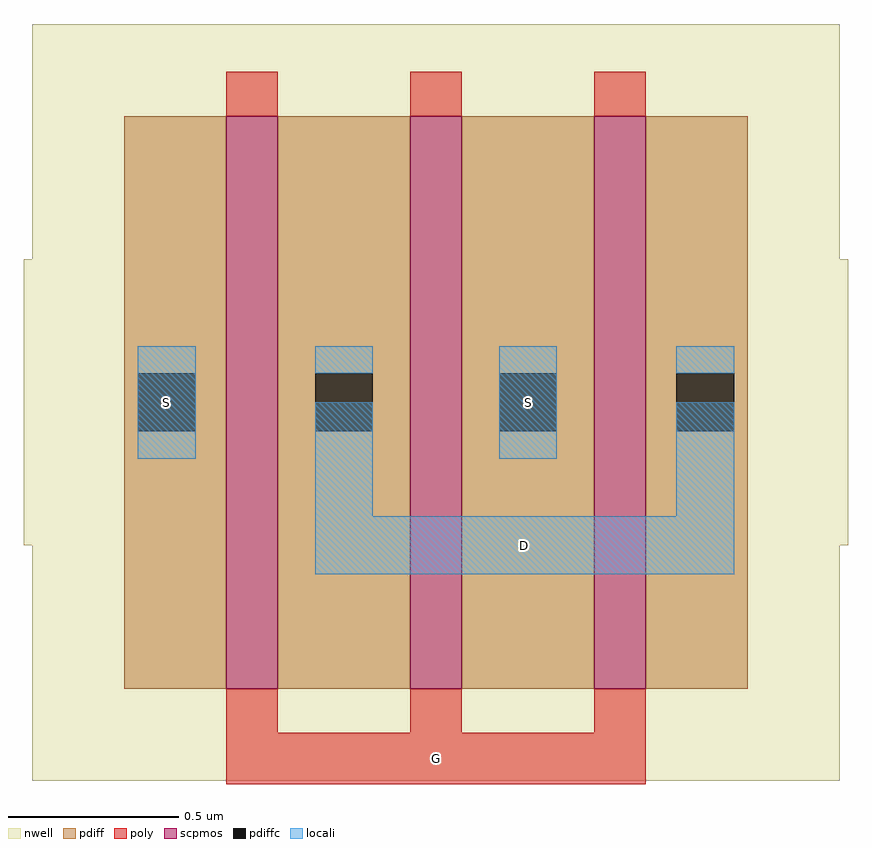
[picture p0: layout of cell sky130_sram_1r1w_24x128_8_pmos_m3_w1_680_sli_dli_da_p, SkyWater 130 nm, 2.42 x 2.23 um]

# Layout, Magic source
magic
tech sky130B
magscale 1 2
<< nwell >>
rect -54 -54 420 390
<< scpmos >>
rect 60 0 90 336
rect 168 0 198 336
rect 276 0 306 336
<< pdiff >>
rect 0 0 60 336
rect 90 0 168 336
rect 198 0 276 336
rect 306 0 366 336
<< poly >>
rect 60 336 90 362
rect 168 336 198 362
rect 276 336 306 362
rect 60 -26 90 0
rect 168 -26 198 0
rect 276 -26 306 0
rect 60 -56 306 -26
<< locali >>
rect 8 135 42 201
rect 112 101 146 168
rect 220 135 254 201
rect 324 101 358 168
rect 112 67 358 101
use sky130_sram_1r1w_24x128_8_contact_11  sky130_sram_1r1w_24x128_8_contact_11_0
transform 1 0 316 0 1 135
box -59 -51 109 117
use sky130_sram_1r1w_24x128_8_contact_11  sky130_sram_1r1w_24x128_8_contact_11_1
transform 1 0 212 0 1 135
box -59 -51 109 117
use sky130_sram_1r1w_24x128_8_contact_11  sky130_sram_1r1w_24x128_8_contact_11_2
transform 1 0 104 0 1 135
box -59 -51 109 117
use sky130_sram_1r1w_24x128_8_contact_11  sky130_sram_1r1w_24x128_8_contact_11_3
transform 1 0 0 0 1 135
box -59 -51 109 117
<< labels >>
rlabel poly s 183 -41 183 -41 4 G
port 1 nsew
rlabel locali s 237 168 237 168 4 S
port 2 nsew
rlabel locali s 25 168 25 168 4 S
port 2 nsew
rlabel locali s 235 84 235 84 4 D
port 3 nsew
<< properties >>
string FIXED_BBOX -54 -56 420 390
<< end >>

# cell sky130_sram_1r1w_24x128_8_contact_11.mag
magic
tech sky130B
magscale 1 2
<< nwell >>
rect -59 -51 109 117
<< pdiff >>
rect 0 50 50 62
rect 0 16 8 50
rect 42 16 50 50
rect 0 4 50 16
<< pdiffc >>
rect 8 16 42 50
<< locali >>
rect 8 50 42 66
rect 8 0 42 16
<< properties >>
string FIXED_BBOX -59 -51 109 117
<< end >>
